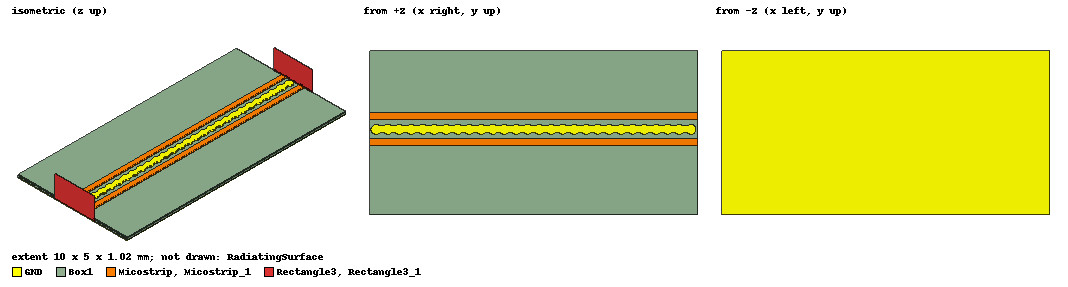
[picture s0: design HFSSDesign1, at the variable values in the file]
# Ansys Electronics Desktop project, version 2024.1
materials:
  vacuum: permittivity=1
  air: permittivity=1.0006 permeability=1.0000004
  Custom_ADM_Material: permittivity=3.3 dielectric_loss_tangent=0.003 delta_H_freq=10GHz
  copper: permeability=0.999991 conductivity=58000000
  pec: conductivity=1e+30

design HFSSDesign1 (HFSS, HFSS Terminal Network, model units mm)
options: Allow_Material_Override Calculate_Lossy_Dielectrics
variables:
  track_width = 0.217994mm
  track_length = 10mm
  sub_thick = 100um
  copper_thick = 20um
  port_thick = 1mil
  port_width = 0.1mm
  spacing = 0.8mm
  pitch = 14mil
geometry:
  Box1 [Custom_ADM_Material] = box(corner=(-track_length/2, -3mm, 0mm), size=(track_length, 5mm, 0.1mm))
  GND [copper] = object_from(Box1.face(-z))
  Micostrip [copper] = rectangle(corner=(-track_length/2, -track_width/2, 0.1mm), x_size=track_length, y_size=track_width)
  RadiatingSurface [vacuum] = region(absolute_offset: +X=0mm, -X=0mm, +Y=2mm, -Y=2mm, +Z=2mm, -Z=2mm)
  [Micostrip, GND].thicken(0.02mm)
  Micostrip_1 [copper] = Micostrip.duplicate_along_line(step=(0mm, -spacing, 0mm), total=2)
  Cylinder1 = cylinder(axis=Z, base_centre=(track_length/2 - 8mil, -spacing/2, 0), radius=3mil, height=sub_thick)
  Circle1 = circle(normal=Z, centre=(track_length/2 - 8mil, -spacing/2, 0.1mm), radius=6mil)
  Circle1.thicken(20um)
  Circle1_1..Circle1_27 = Circle1.duplicate_along_line(step=(-pitch, 0mm, 0mm), total=28)
  Cylinder1_1..Cylinder1_27 = Cylinder1.duplicate_along_line(step=(-pitch, 0mm, 0mm), total=28)
  Circle1.unite(Circle1_1..Circle1_27)
  Cylinder1.unite(Cylinder1_1..Cylinder1_27)
  GND.unite(Cylinder1, Circle1)
  Rectangle2 [non-model] = rectangle(corner=(3mil, 2.0060153mm, 1.7909218mm), y_size=-5.0060153mm, z_size=-1.8109218mm)
  Rectangle3 = rectangle(corner=(track_length/2, -5*port_width-spacing, 0mm), y_size=10*port_width+spacing, z_size=10*sub_thick)
  Rectangle3_1 = Rectangle3.duplicate_along_line(step=(-track_length, 0mm, 0mm), total=2)
  Rectangle4 = rectangle(corner=(4.7968mm, -0.4mm, 0.1mm), x_size=-9.6012mm, y_size=-0.2mm)
  Rectangle4.move(0mm, 0.1mm, 0mm)
  Rectangle4.thicken(20um)
  GND.unite(Rectangle4)
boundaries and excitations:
  Open1: Radiation Objects=RadiatingSurface
  T1_1: Terminal port=1 Faces=Micostrip.face(at (5, 0, 0.11)) TerminalResistance=50ohm
  T2_1: Terminal port=1 Faces=Micostrip_1.face(at (5, -0.8, 0.11)) TerminalResistance=50ohm
  T1_2: Terminal port=2 Faces=Micostrip.face(at (-5, 0, 0.11)) TerminalResistance=50ohm
  T2_2: Terminal port=2 Faces=Micostrip_1.face(at (-5, -0.8, 0.11)) TerminalResistance=50ohm
  1: Wave Port Faces=Rectangle3.face(at (5, -0.4, 0.5)) WavePortType=Terminal NumModes=1
  2: Wave Port Faces=Rectangle3_1.face WavePortType=Terminal NumModes=1
  reference conductors: GND
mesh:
  initial mesh: GlobalSurfApproximation{CurvedSurfaceApproxChoice=UseSlider SliderMeshSettings=6}
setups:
  Setup1: HfssDriven MultipleAdaptiveFreqsSetup{Low=0GHz High=50GHz} MaxDeltaS=0.02 MaximumPasses=20 MinimumPasses=1 MinimumConvergedPasses=1 PercentRefinement=30 BasisOrder=1 PortAccuracy=2 DrivenSolverType="Direct Solver" VariableFlagsForDerivatives(1)
    sweep Sweep: 0GHz to 50GHz, 401 points; Type=Interpolating InterpTolerance=0.5 InterpMaxSolns=250 MinSolvedFreq=0.01GHz InterpUsePortImped=false InterpUsePropConst=false PassivityErrorTolerance=0.0001
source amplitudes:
  1:1, 1:2: 1V 0deg
  2:1, 2:2: 0V 0deg
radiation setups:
  3D: Infinite Sphere Theta=0deg..180deg step 2deg Phi=-180deg..180deg step 2deg
  Elevation: Infinite Sphere Theta=-180deg..180deg step 1deg Phi=0deg..90deg step 90deg
  Azimuth: Infinite Sphere Theta=90deg..90deg step 0deg Phi=-180deg..180deg step 1deg
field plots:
  Mag_E2: E Field on Setup1 : LastAdaptive at Freq=30GHz Phase=0deg
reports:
  S Parameter Plot 1: dB(S(1,1)), dB(S(2,1)), dB(S(3,1)), dB(S(4,1)), dB(S(1,2)), dB(S(2,2)), dB(S(3,2)), dB(S(4,2)), dB(S(1,3)), dB(S(2,3)), dB(S(3,3)), dB(S(4,3)), dB(S(1,4)), dB(S(2,4)), dB(S(3,4)), dB(S(4,4)) vs Freq on Setup1 : Sweep
  Terminal S Parameter Plot 1: dB(St(T2_2,T1_1)) vs Freq on Setup1 : Sweep; markers m1 at 50GHz, m2 at 10GHz
  Terminal S Parameter Plot 2: dB(St(T2_1,T1_1)) vs Freq on Setup1 : Sweep; markers m1 at 4.625GHz
  Terminal S Parameter Plot 3: dB(St(T1_1,T1_1)) vs Freq on Setup1 : Sweep; markers m1 at 43.25GHz
  Terminal S Parameter Plot 4: dB(St(T1_2,T1_1)) vs Freq on Setup1 : Sweep; markers m1 at 10GHz, m2 at 50GHz
